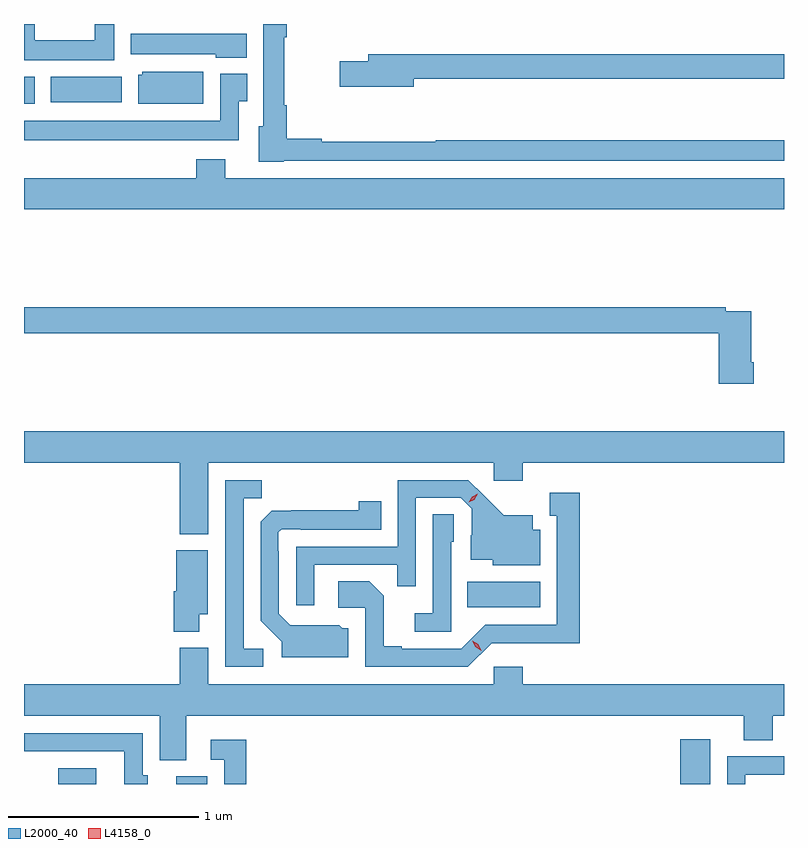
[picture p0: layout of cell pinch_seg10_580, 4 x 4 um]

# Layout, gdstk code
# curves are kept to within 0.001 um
import gdstk
lib = gdstk.Library(unit=1e-6, precision=1e-09)
def R(c, l, rs):  # rectangles x0, y0, x1, y1
    for r in rs: c.add(gdstk.rectangle(r[:2], r[2:], *l))
def P(c, l, *ps):  # polygons
    for p in ps: c.add(gdstk.Polygon(p, *l))
L2000_40 = (2000, 40)
L4158_0 = (4158, 0)

pinch_seg10_580 = lib.new_cell('pinch_seg10_580')
R(pinch_seg10_580, L2000_40, [(360.768,1285.304,360.967,1285.386), (361.388,1285.304,361.552,1285.344), (364.04,1285.304,364.198,1285.54), (362.92,1286.234,363.304,1286.368), (360.587,1288.883,360.643,1289.026), (360.728,1288.892,361.102,1289.026), (360.732,1289.303,360.874,1289.304)])
P(pinch_seg10_580, L2000_40, [(361.953,1288.584),(364.587,1288.584),(364.587,1288.693),(362.753,1288.693),(362.753,1288.685),(362.153,1288.685),(362.153,1288.7),(361.97,1288.7),(361.97,1288.877),(361.957,1288.877),(361.957,1289.234),(361.97,1289.234),(361.97,1289.304),(361.847,1289.304),(361.847,1288.767),(361.823,1288.767),(361.823,1288.58),(361.953,1288.58)],
  [(361.063,1289.304),(360.959,1289.304),(360.959,1289.218),(360.643,1289.218),(360.643,1289.304),(360.587,1289.304),(360.587,1289.114),(361.063,1289.114)],
  [(361.759,1289.254),(361.148,1289.254),(361.148,1289.144),(361.596,1289.144),(361.596,1289.126),(361.759,1289.126)],
  [(362.638,1289.016),(364.587,1289.016),(364.587,1289.144),(362.399,1289.144),(362.399,1289.108),(362.25,1289.108),(362.25,1288.973),(362.638,1288.973)],
  [(361.531,1289.053),(361.209,1289.053),(361.209,1289.037),(361.187,1289.037),(361.187,1288.883),(361.531,1288.883)],
  [(361.717,1288.897),(361.762,1288.897),(361.762,1289.041),(361.62,1289.041),(361.62,1288.795),(360.587,1288.795),(360.587,1288.691),(361.717,1288.691)],
  [(364.587,1288.492),(361.645,1288.492),(361.645,1288.591),(361.493,1288.591),(361.493,1288.492),(360.587,1288.492),(360.587,1288.328),(364.587,1288.328)],
  [(364.427,1287.523),(364.414,1287.523),(364.414,1287.792),(364.28,1287.792),(364.28,1287.812),(360.587,1287.812),(360.587,1287.676),(364.244,1287.676),(364.244,1287.411),(364.427,1287.411)],
  [(361.558,1286.996),(363.06,1286.996),(363.06,1286.901),(363.212,1286.901),(363.212,1286.996),(364.587,1286.996),(364.587,1287.16),(360.587,1287.16),(360.587,1286.996),(361.406,1286.996),(361.406,1286.618),(361.558,1286.618)],
  [(361.846,1286.016),(361.743,1286.016),(361.743,1286.809),(361.839,1286.809),(361.839,1286.904),(361.647,1286.904),(361.647,1285.92),(361.846,1285.92)],
  [(362.115,1286.457),(362.551,1286.457),(362.551,1286.344),(362.649,1286.344),(362.649,1286.811),(362.886,1286.811),(362.943,1286.754),(362.943,1286.612),(362.939,1286.612),(362.939,1286.483),(363.054,1286.483),(363.054,1286.456),(363.304,1286.456),(363.304,1286.641),(363.265,1286.641),(363.265,1286.719),(363.113,1286.719),(362.926,1286.904),(362.553,1286.904),(362.553,1286.553),(362.019,1286.553),(362.019,1286.244),(362.115,1286.244)],
  [(363.048,1286.046),(363.511,1286.045),(363.511,1286.836),(363.353,1286.836),(363.353,1286.715),(363.392,1286.715),(363.392,1286.142),(363.015,1286.142),(362.889,1286.016),(362.575,1286.016),(362.575,1286.029),(362.481,1286.029),(362.481,1286.296),(362.405,1286.372),(362.241,1286.372),(362.241,1286.232),(362.382,1286.232),(362.382,1285.92),(362.922,1285.92)],
  [(362.293,1286.124),(362.262,1286.124),(362.246,1286.14),(361.989,1286.139),(361.929,1286.199),(361.929,1286.528),(361.926,1286.528),(361.926,1286.628),(361.944,1286.646),(362.044,1286.646),(362.044,1286.643),(362.468,1286.643),(362.468,1286.791),(362.35,1286.791),(362.35,1286.744),(361.892,1286.743),(361.833,1286.684),(361.833,1286.162),(361.943,1286.052),(361.943,1285.97),(362.293,1285.97)],
  [(362.835,1286.58),(362.85,1286.58),(362.85,1286.723),(362.739,1286.723),(362.739,1286.203),(362.643,1286.203),(362.643,1286.106),(362.835,1286.106)],
  [(361.51,1286.198),(361.555,1286.198),(361.555,1286.533),(361.388,1286.533),(361.388,1286.319),(361.376,1286.319),(361.376,1286.105),(361.51,1286.105)],
  [(361.441,1285.664),(364.376,1285.664),(364.376,1285.534),(364.529,1285.534),(364.529,1285.664),(364.587,1285.664),(364.587,1285.828),(363.212,1285.828),(363.212,1285.921),(363.06,1285.921),(363.06,1285.828),(361.558,1285.828),(361.558,1286.02),(361.406,1286.02),(361.406,1285.828),(360.587,1285.828),(360.587,1285.664),(361.301,1285.664),(361.301,1285.429),(361.441,1285.429)],
  [(361.237,1285.35),(361.212,1285.35),(361.212,1285.572),(360.587,1285.572),(360.587,1285.476),(361.115,1285.476),(361.115,1285.304),(361.237,1285.304)],
  [(361.757,1285.537),(361.569,1285.537),(361.569,1285.431),(361.641,1285.431),(361.641,1285.304),(361.757,1285.304)],
  [(364.383,1285.353),(364.587,1285.353),(364.587,1285.449),(364.287,1285.449),(364.287,1285.304),(364.383,1285.304)])
P(pinch_seg10_580, L4158_0, [(362.994,1286.006),(362.962,1286.026),(362.945,1286.058),(362.945,1286.058),(362.945,1286.058),(362.977,1286.039),(362.994,1286.007),(362.994,1286.006)],
  [(362.927,1286.786),(362.927,1286.787),(362.945,1286.816),(362.975,1286.831),(362.975,1286.831),(362.975,1286.831),(362.958,1286.801),(362.928,1286.786)])

lib.write_gds('pinch_seg10_580.gds')
